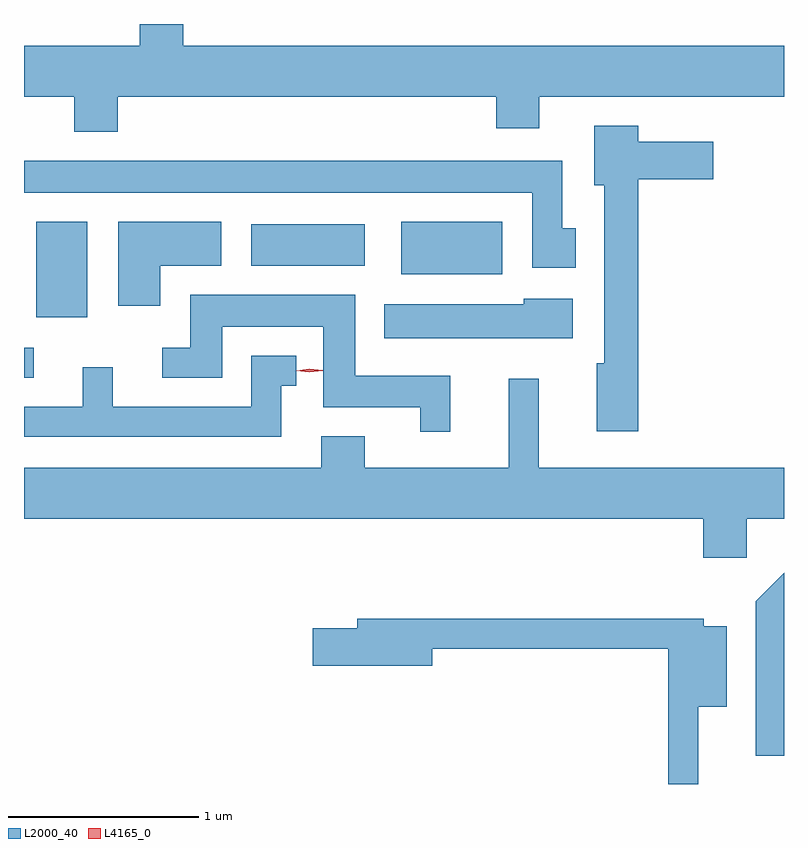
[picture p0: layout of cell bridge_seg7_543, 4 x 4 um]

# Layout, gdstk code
import gdstk
lib = gdstk.Library(unit=1e-6, precision=1e-09)
def R(c, l, rs):  # rectangles x0, y0, x1, y1
    for r in rs: c.add(gdstk.rectangle(r[:2], r[2:], *l))
def P(c, l, *ps):  # polygons
    for p in ps: c.add(gdstk.Polygon(p, *l))
L2000_40 = (2000, 40)
L4165_0 = (4165, 0)

bridge_seg7_543 = lib.new_cell('bridge_seg7_543')
R(bridge_seg7_543, L2000_40, [(965.956,1772.776,966.008,1772.934), (966.021,1773.096,966.289,1773.599), (967.941,1773.321,968.474,1773.599), (967.151,1773.366,967.749,1773.584)])
P(bridge_seg7_543, L2000_40, [(966.449,1774.256),(968.441,1774.256),(968.441,1774.091),(968.669,1774.091),(968.669,1774.256),(969.956,1774.256),(969.956,1774.524),(966.794,1774.524),(966.794,1774.639),(966.566,1774.639),(966.566,1774.524),(965.956,1774.524),(965.956,1774.256),(966.221,1774.256),(966.221,1774.071),(966.449,1774.071)],
  [(969.189,1773.821),(969.584,1773.821),(969.584,1774.019),(969.189,1774.019),(969.189,1774.104),(968.956,1774.104),(968.956,1773.791),(969.011,1773.791),(969.011,1772.854),(968.971,1772.854),(968.971,1772.496),(969.189,1772.496)],
  [(968.859,1773.564),(968.789,1773.564),(968.789,1773.919),(965.956,1773.919),(965.956,1773.751),(968.631,1773.751),(968.631,1773.356),(968.859,1773.356)],
  [(966.674,1773.366),(966.994,1773.366),(966.994,1773.599),(966.451,1773.599),(966.451,1773.156),(966.674,1773.156)],
  [(968.199,1772.789),(967.699,1772.789),(967.699,1773.214),(966.831,1773.214),(966.831,1772.934),(966.683,1772.934),(966.683,1772.776),(966.999,1772.776),(966.999,1773.046),(967.531,1773.046),(967.531,1772.621),(968.041,1772.621),(968.041,1772.493),(968.199,1772.493)],
  [(968.844,1773.194),(968.586,1773.194),(968.586,1773.164),(967.851,1773.164),(967.851,1772.986),(968.844,1772.986)],
  [(967.309,1772.736),(967.388,1772.736),(967.388,1772.894),(967.151,1772.894),(967.151,1772.624),(966.424,1772.624),(966.424,1772.833),(966.266,1772.833),(966.266,1772.624),(965.956,1772.624),(965.956,1772.466),(967.309,1772.466)],
  [(969.759,1772.036),(969.956,1772.036),(969.956,1772.304),(968.664,1772.304),(968.664,1772.773),(968.506,1772.773),(968.506,1772.304),(967.749,1772.304),(967.749,1772.469),(967.521,1772.469),(967.521,1772.304),(965.956,1772.304),(965.956,1772.036),(969.531,1772.036),(969.531,1771.831),(969.759,1771.831)],
  [(969.956,1771.751),(969.806,1771.602),(969.806,1770.788),(969.956,1770.788)],
  [(969.504,1771.046),(969.654,1771.046),(969.654,1771.469),(969.534,1771.469),(969.534,1771.509),(967.711,1771.509),(967.711,1771.459),(967.476,1771.459),(967.476,1771.261),(968.104,1771.261),(968.104,1771.351),(969.346,1771.351),(969.346,1770.639),(969.504,1770.639)])
P(bridge_seg7_543, L4165_0, [(967.458,1772.805),(967.389,1772.814),(967.389,1772.815),(967.389,1772.815),(967.458,1772.825),(967.528,1772.816),(967.528,1772.816),(967.528,1772.815)])

lib.write_gds('bridge_seg7_543.gds')
